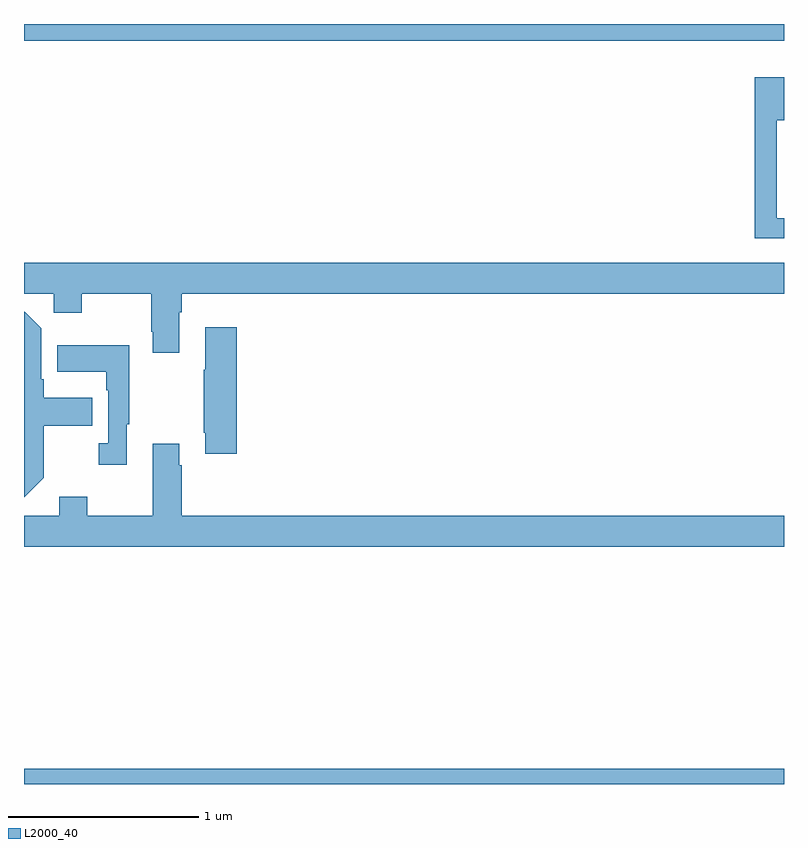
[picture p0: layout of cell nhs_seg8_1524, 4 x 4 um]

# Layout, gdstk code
import gdstk
lib = gdstk.Library(unit=1e-6, precision=1e-09)
def R(c, l, rs):  # rectangles x0, y0, x1, y1
    for r in rs: c.add(gdstk.rectangle(r[:2], r[2:], *l))
def P(c, l, *ps):  # polygons
    for p in ps: c.add(gdstk.Polygon(p, *l))
L2000_40 = (2000, 40)

nhs_seg8_1524 = lib.new_cell('nhs_seg8_1524')
R(nhs_seg8_1524, L2000_40, [(207,1133.9,211,1133.98), (207,1137.812,211,1137.9)])
P(nhs_seg8_1524, L2000_40, [(211,1136.877),(210.963,1136.877),(210.963,1137.393),(211,1137.393),(211,1137.619),(210.847,1137.619),(210.847,1136.772),(211,1136.772)],
  [(207.817,1136.384),(207.83,1136.384),(207.83,1136.48),(211,1136.48),(211,1136.644),(207,1136.644),(207,1136.48),(207.156,1136.48),(207.156,1136.381),(207.303,1136.381),(207.303,1136.48),(207.67,1136.48),(207.67,1136.281),(207.677,1136.281),(207.677,1136.169),(207.817,1136.169)],
  [(207.103,1135.513),(207.103,1135.786),(207.359,1135.786),(207.359,1135.933),(207.103,1135.933),(207.103,1136.029),(207.09,1136.029),(207.09,1136.298),(207.003,1136.385),(207,1136.385),(207,1135.41)],
  [(208.121,1136.305),(207.953,1136.305),(207.953,1136.081),(207.946,1136.081),(207.946,1135.75),(207.953,1135.75),(207.953,1135.638),(208.121,1135.638)],
  [(207.541,1135.793),(207.553,1135.793),(207.553,1136.209),(207.175,1136.209),(207.175,1136.069),(207.432,1136.069),(207.432,1135.973),(207.444,1135.973),(207.444,1135.694),(207.393,1135.694),(207.393,1135.581),(207.541,1135.581)],
  [(211,1135.312),(207.83,1135.312),(207.83,1135.577),(207.817,1135.577),(207.817,1135.69),(207.677,1135.69),(207.677,1135.312),(207.333,1135.312),(207.333,1135.411),(207.185,1135.411),(207.185,1135.312),(207,1135.312),(207,1135.148),(211,1135.148)])

lib.write_gds('nhs_seg8_1524.gds')
